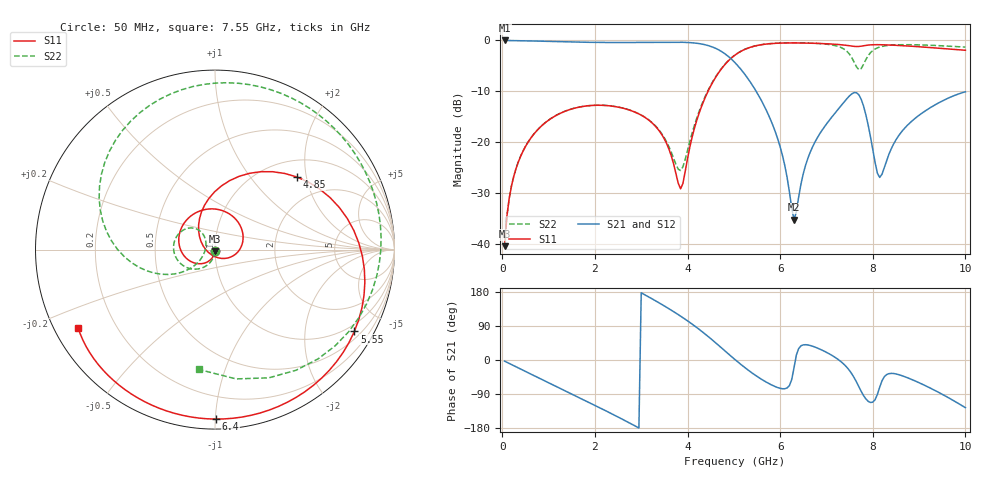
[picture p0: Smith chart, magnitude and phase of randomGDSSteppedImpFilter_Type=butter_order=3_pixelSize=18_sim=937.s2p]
! freq	dB(S11)	phase(S11)	dB(S12)	phase(S12)
!  dB(S21)	phase(S21)	dB(S22)	phase(S22)
!S-par simulation data
#  GHz  S  DB  R 50
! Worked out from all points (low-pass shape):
!   200 points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, 50 MHz to 10 GHz, reference 50 ohm
!   highest |S21| = -0.01 dB at 50 MHz (marker M1); lowest = -35.2 dB at 6.3 GHz (marker M2)
!   |S21| within 3 dB of the highest: start of sweep to 4.862 GHz
!   lowest |S11| = -40.4 dB at 50 MHz (marker M3), VSWR 1.02, Z = 50 - j0.957 ohm
!   |S11| at or under -10 dB: start of sweep to 4.442 GHz
!   |S22| runs from -40.4 to -0.5 dB; largest |S21 - S12| = 0
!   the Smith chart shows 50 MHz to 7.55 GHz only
!   S11 on the Smith chart (normalised r, x): 50 MHz: 1.00, -0.02; 4.85 GHz: 1.36, +1.76; 5.55 GHz: 0.73, -3.53; 6.4 GHz: 0.06, -1.00; 7.55 GHz: 0.07, -0.27
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0.05  -40.37 -92.1  -0.01 -3.1  -0.01 -3.1  -40.35 -91.0
0.2  -28.49 -104.1  -0.03 -12.1  -0.03 -12.1  -28.47 -99.7
0.5  -20.82 -126.1  -0.08 -30.1  -0.08 -30.1  -20.80 -115.0
1.75  -12.94 141.9  -0.35 -104.6  -0.35 -104.6  -12.93 -172.5
2.65  -13.39 67.5  -0.41 -159.9  -0.41 -159.9  -13.38 152.0
3.4  -17.88 -6.1  -0.35 149.8  -0.35 149.8  -17.75 128.5
3.85  -29.11 -121.7  -0.36 115.8  -0.36 115.8  -25.52 173.7
4.35  -11.87 103.1  -0.79 71.4  -0.79 71.4  -11.63 -148.9
4.85  -4.30 41.6  -2.92 19.5  -2.92 19.5  -4.26 170.5
5.05  -2.72 18.7  -4.61 -1.5  -4.61 -1.5  -2.69 151.3
5.55  -0.91 -30.4  -11.05 -47.2  -11.05 -47.2  -0.90 106.0
6.3  -0.49 -83.8  -35.16 -20.1  -35.16 -20.1  -0.47 48.9
6.4  -0.50 -89.8  -30.71 30.3  -30.71 30.3  -0.47 41.7
6.7  -0.55 -106.7  -20.88 36.4  -20.88 36.4  -0.54 19.8
7.2  -0.76 -133.0  -14.09 5.9  -14.09 5.9  -1.04 -25.3
7.55  -1.11 -150.0  -10.46 -37.0  -10.46 -37.0  -3.43 -97.7
7.7  -1.18 -155.9  -10.68 -70.6  -10.68 -70.6  -5.75 179.6
7.85  -0.97 -162.7  -14.56 -102.6  -14.56 -102.6  -3.78 90.0
8.15  -0.84 179.8  -26.88 -71.6  -26.88 -71.6  -1.30 18.7
8.35  -0.90 167.7  -22.30 -36.0  -22.30 -36.0  -0.96 -2.8
9.3  -1.45 97.3  -12.88 -77.6  -12.88 -77.6  -0.97 -56.8
10  -1.93 21.3  -10.08 -125.8  -10.08 -125.8  -1.31 -82.8
